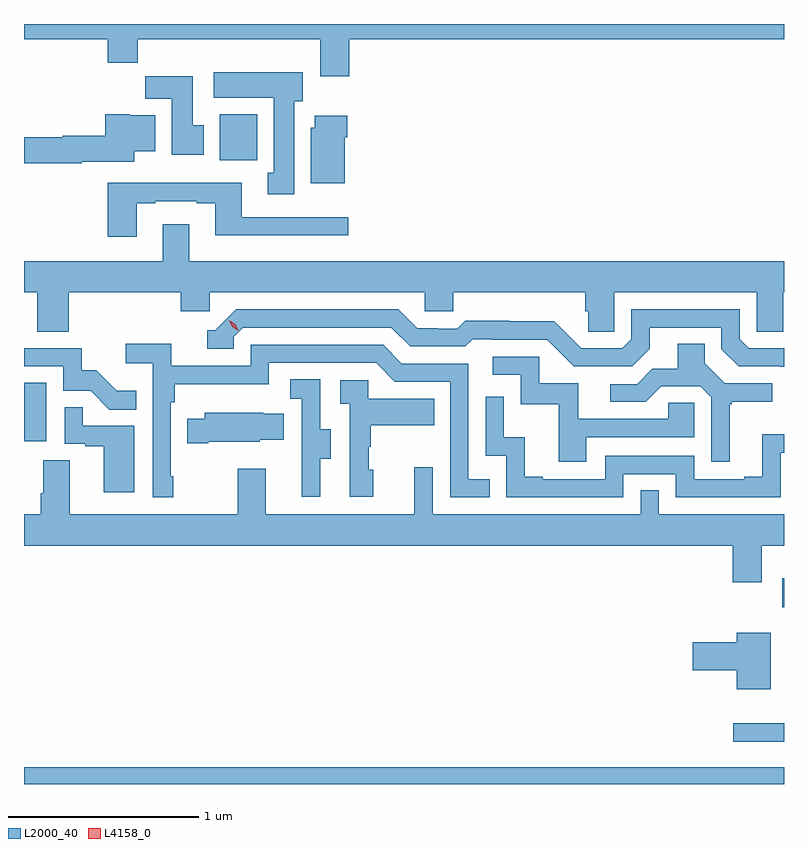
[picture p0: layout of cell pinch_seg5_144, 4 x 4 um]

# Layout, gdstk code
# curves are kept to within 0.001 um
import gdstk
lib = gdstk.Library(unit=1e-6, precision=1e-09)
def R(c, l, rs):  # rectangles x0, y0, x1, y1
    for r in rs: c.add(gdstk.rectangle(r[:2], r[2:], *l))
def P(c, l, *ps):  # polygons
    for p in ps: c.add(gdstk.Polygon(p, *l))
L2000_40 = (2000, 40)
L4158_0 = (4158, 0)

pinch_seg5_144 = lib.new_cell('pinch_seg5_144')
R(pinch_seg5_144, L2000_40, [(1028.725,882.145,1032.725,882.232), (1032.459,882.368,1032.725,882.465), (1032.716,883.074,1032.725,883.228), (1028.725,883.95,1028.842,884.257), (1029.755,885.428,1029.952,885.67)])
P(pinch_seg5_144, L2000_40, [(1030.436,886.064),(1032.725,886.064),(1032.725,886.145),(1028.725,886.145),(1028.725,886.064),(1029.167,886.064),(1029.167,885.94),(1029.323,885.94),(1029.323,886.064),(1030.283,886.064),(1030.283,885.87),(1030.436,885.87)],
  [(1030.147,885.738),(1030.192,885.738),(1030.192,885.892),(1029.723,885.892),(1029.723,885.758),(1030.04,885.758),(1030.04,885.362),(1030.007,885.362),(1030.007,885.249),(1030.147,885.249)],
  [(1029.67,885.612),(1029.613,885.612),(1029.613,885.871),(1029.364,885.871),(1029.364,885.752),(1029.503,885.752),(1029.503,885.456),(1029.67,885.456)],
  [(1029.028,885.419),(1029.304,885.419),(1029.304,885.476),(1029.415,885.476),(1029.415,885.664),(1029.282,885.664),(1029.282,885.67),(1029.152,885.67),(1029.152,885.556),(1028.928,885.556),(1028.928,885.548),(1028.725,885.548),(1028.725,885.412),(1029.028,885.412)],
  [(1030.414,885.548),(1030.427,885.548),(1030.427,885.661),(1030.256,885.661),(1030.256,885.6),(1030.235,885.6),(1030.235,885.308),(1030.414,885.308)],
  [(1029.319,885.201),(1029.415,885.201),(1029.415,885.213),(1029.635,885.213),(1029.635,885.201),(1029.731,885.201),(1029.731,885.032),(1030.432,885.032),(1030.432,885.129),(1029.871,885.129),(1029.871,885.31),(1029.167,885.31),(1029.167,885.024),(1029.319,885.024)],
  [(1028.96,884.732),(1029.551,884.732),(1029.551,884.634),(1029.702,884.634),(1029.702,884.732),(1030.833,884.732),(1030.833,884.634),(1030.983,884.634),(1030.983,884.732),(1031.68,884.732),(1031.68,884.634),(1031.695,884.634),(1031.695,884.524),(1031.832,884.524),(1031.832,884.732),(1032.582,884.732),(1032.582,884.524),(1032.721,884.524),(1032.721,884.732),(1032.725,884.732),(1032.725,884.896),(1029.595,884.896),(1029.595,885.091),(1029.455,885.091),(1029.455,884.896),(1028.725,884.896),(1028.725,884.732),(1028.795,884.732),(1028.795,884.524),(1028.96,884.524)],
  [(1032.725,884.439),(1032.54,884.439),(1032.492,884.487),(1032.492,884.643),(1031.922,884.643),(1031.922,884.487),(1031.874,884.439),(1031.658,884.439),(1031.516,884.581),(1031.28,884.581),(1031.28,884.584),(1031.047,884.584),(1031.005,884.541),(1030.902,884.541),(1030.902,884.544),(1030.795,884.544),(1030.696,884.643),(1029.843,884.643),(1029.732,884.532),(1029.689,884.532),(1029.689,884.436),(1029.828,884.436),(1029.828,884.499),(1029.876,884.547),(1030.659,884.547),(1030.758,884.448),(1031.047,884.448),(1031.086,884.487),(1031.185,884.487),(1031.185,884.484),(1031.478,884.484),(1031.619,884.343),(1031.925,884.343),(1032.019,884.437),(1032.019,884.547),(1032.396,884.547),(1032.396,884.433),(1032.486,884.343),(1032.725,884.342)],
  [(1029.511,883.765),(1029.498,883.765),(1029.498,884.153),(1029.518,884.153),(1029.518,884.249),(1030.014,884.249),(1030.014,884.361),(1030.578,884.361),(1030.677,884.262),(1030.968,884.262),(1030.968,883.653),(1031.177,883.653),(1031.177,883.749),(1031.064,883.749),(1031.064,884.358),(1030.714,884.358),(1030.615,884.457),(1029.918,884.457),(1029.918,884.346),(1029.5,884.346),(1029.5,884.462),(1029.261,884.462),(1029.261,884.36),(1029.402,884.36),(1029.402,883.653),(1029.511,883.653)],
  [(1032.439,884.145),(1032.451,884.145),(1032.451,884.156),(1032.664,884.156),(1032.664,884.253),(1032.414,884.253),(1032.307,884.36),(1032.307,884.462),(1032.167,884.462),(1032.167,884.33),(1032.032,884.33),(1031.952,884.25),(1031.811,884.25),(1031.811,884.157),(1031.998,884.157),(1032.079,884.238),(1032.285,884.238),(1032.342,884.181),(1032.342,883.842),(1032.439,883.842)],
  [(1029.317,884.215),(1029.213,884.215),(1029.106,884.322),(1029.03,884.322),(1029.03,884.439),(1028.725,884.439),(1028.725,884.343),(1028.931,884.343),(1028.931,884.214),(1029.075,884.214),(1029.173,884.116),(1029.317,884.116)],
  [(1031.683,883.971),(1032.252,883.971),(1032.252,884.151),(1032.115,884.151),(1032.115,884.067),(1031.641,884.067),(1031.641,884.253),(1031.436,884.253),(1031.436,884.394),(1031.193,884.394),(1031.193,884.298),(1031.34,884.298),(1031.34,884.145),(1031.539,884.145),(1031.539,883.842),(1031.683,883.842)],
  [(1030.285,883.858),(1030.339,883.858),(1030.339,884.013),(1030.284,884.013),(1030.284,884.276),(1030.125,884.276),(1030.125,884.173),(1030.188,884.173),(1030.188,883.869),(1030.187,883.869),(1030.187,883.656),(1030.285,883.656)],
  [(1030.564,883.8),(1030.539,883.8),(1030.539,883.919),(1030.549,883.919),(1030.549,884.033),(1030.883,884.033),(1030.883,884.173),(1030.536,884.173),(1030.536,884.271),(1030.389,884.271),(1030.389,884.147),(1030.44,884.147),(1030.44,883.656),(1030.564,883.656)],
  [(1031.88,883.776),(1032.156,883.776),(1032.156,883.653),(1032.708,883.653),(1032.708,883.889),(1032.725,883.889),(1032.725,883.987),(1032.611,883.987),(1032.611,883.762),(1032.515,883.762),(1032.515,883.749),(1032.252,883.749),(1032.252,883.872),(1031.784,883.872),(1031.784,883.749),(1031.455,883.749),(1031.455,883.762),(1031.36,883.762),(1031.36,883.97),(1031.25,883.97),(1031.25,884.182),(1031.154,884.182),(1031.154,883.872),(1031.262,883.872),(1031.262,883.653),(1031.88,883.653)],
  [(1029.304,884.031),(1029.035,884.031),(1029.035,884.129),(1028.94,884.129),(1028.94,883.935),(1029.047,883.935),(1029.047,883.923),(1029.146,883.923),(1029.146,883.68),(1029.304,883.68)],
  [(1029.694,883.946),(1029.966,883.946),(1029.966,883.958),(1030.091,883.958),(1030.091,884.095),(1029.983,884.095),(1029.983,884.098),(1029.677,884.098),(1029.677,884.068),(1029.583,884.068),(1029.583,883.939),(1029.694,883.939)],
  [(1032.607,883.4),(1032.725,883.4),(1032.725,883.564),(1032.066,883.564),(1032.066,883.691),(1031.97,883.691),(1031.97,883.564),(1030.875,883.564),(1030.875,883.813),(1030.778,883.813),(1030.778,883.564),(1029.997,883.564),(1029.997,883.804),(1029.85,883.804),(1029.85,883.564),(1028.965,883.564),(1028.965,883.85),(1028.825,883.85),(1028.825,883.676),(1028.813,883.676),(1028.813,883.564),(1028.725,883.564),(1028.725,883.4),(1032.455,883.4),(1032.455,883.206),(1032.607,883.206)],
  [(1032.655,882.94),(1032.476,882.94),(1032.476,882.89),(1032.246,882.89),(1032.246,882.743),(1032.476,882.743),(1032.476,882.644),(1032.655,882.644)])
P(pinch_seg5_144, L4158_0, [(1029.851,884.532),(1029.821,884.552),(1029.805,884.585),(1029.805,884.586),(1029.806,884.586),(1029.836,884.566),(1029.852,884.533),(1029.852,884.532)])

lib.write_gds('pinch_seg5_144.gds')
